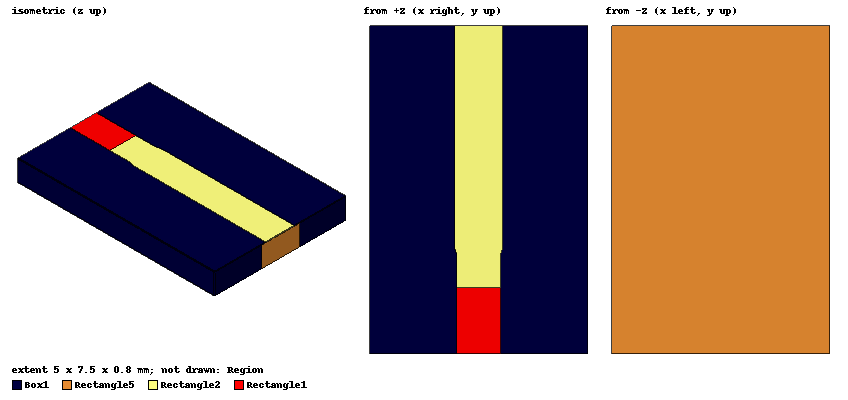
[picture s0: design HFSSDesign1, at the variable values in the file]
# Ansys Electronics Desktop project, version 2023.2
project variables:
  $width = 1.1mm
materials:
  FR4_epoxy: permittivity=4.4 dielectric_loss_tangent=0.02
  air: permittivity=1.0006 permeability=1.0000004
  vacuum: permittivity=1

design HFSSDesign1 (HFSS, HFSS Terminal Network, model units mm)
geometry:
  Rectangle1 = rectangle(corner=(0mm, 0mm, 0mm), x_size=1mm, y_size=1.5mm)
  Rectangle2 = rectangle(corner=(0mm, 1.5mm, 0mm), x_size=1mm, y_size=1mm)
  Circle2 = circle(normal=Z, centre=(0.5mm, 2.5mm, 0mm), radius=$width/2)
  Rectangle2.unite(Circle2)
  Rectangle3 = rectangle(corner=(-0.05mm, 2.5mm, 0mm), x_size=$width, y_size=3mm)
  Rectangle2.unite(Rectangle3)
  Rectangle4 = rectangle(corner=(-0.05mm, 5.5mm, 0mm), x_size=$width, y_size=2mm)
  Rectangle2.unite(Rectangle4)
  Region [air] = region(absolute_offset=10mm on all sides)
  Box1 [FR4_epoxy] = box(corner=(-2mm, 0mm, 0mm), size=(3.24944mm, 7.5mm, -0.8mm))
  Box2 = box(corner=(3mm, 0mm, 0mm), size=(-3.25mm, 7.5mm, -0.8mm))
  Box1.unite(Box2)
  Rectangle5 = rectangle(corner=(-0.25mm, 7.5mm, 0mm), z_size=-0.8mm, x_size=1.45mm)
  Rectangle6 = rectangle(corner=(0mm, 0mm, 0mm), z_size=-0.8mm, x_size=1.2mm)
  Rectangle7 = rectangle(corner=(3mm, 0mm, -0.8mm), x_size=-5mm, y_size=7.5mm)
  Rectangle5.unite(Rectangle6, Rectangle7)
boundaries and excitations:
  PerfE1: Perfect E Objects=Rectangle2
  Rad1: Radiation Objects=Region
  PerfE2: Perfect E Objects=Rectangle5
  1: Lumped Port Objects=Rectangle1 LumpedPortType=Modal Modes{Mode1{IntLine{(0.5, 0, 0) -> (0.5, 1.5, 0)} CharImp=Zpi RenormImp=50ohm}} Impedance=50ohm
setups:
  Setup1: HfssDriven Frequency=0.868GHz MaxDeltaS=0.02 MaximumPasses=20 MinimumPasses=1 MinimumConvergedPasses=1 PercentRefinement=30 BasisOrder=1 PortAccuracy=2 DrivenSolverType="Direct Solver"
    sweep Sweep: 0.2GHz to 5GHz, 401 points; Type=Interpolating InterpTolerance=0.5 InterpMaxSolns=250 PassivityErrorTolerance=0.0001
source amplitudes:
  1:1: 1V 0deg
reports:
  Z Parameter Plot 1: re(Z(1,1)), im(Z(1,1)) vs Freq on Setup1 : Sweep; markers MX1 at x=2.9538962e+09, MY1 at y=50.7044
  Terminal Z Parameter Plot 1: mag(Zt(1,1)) vs Freq on Setup1 : Sweep
